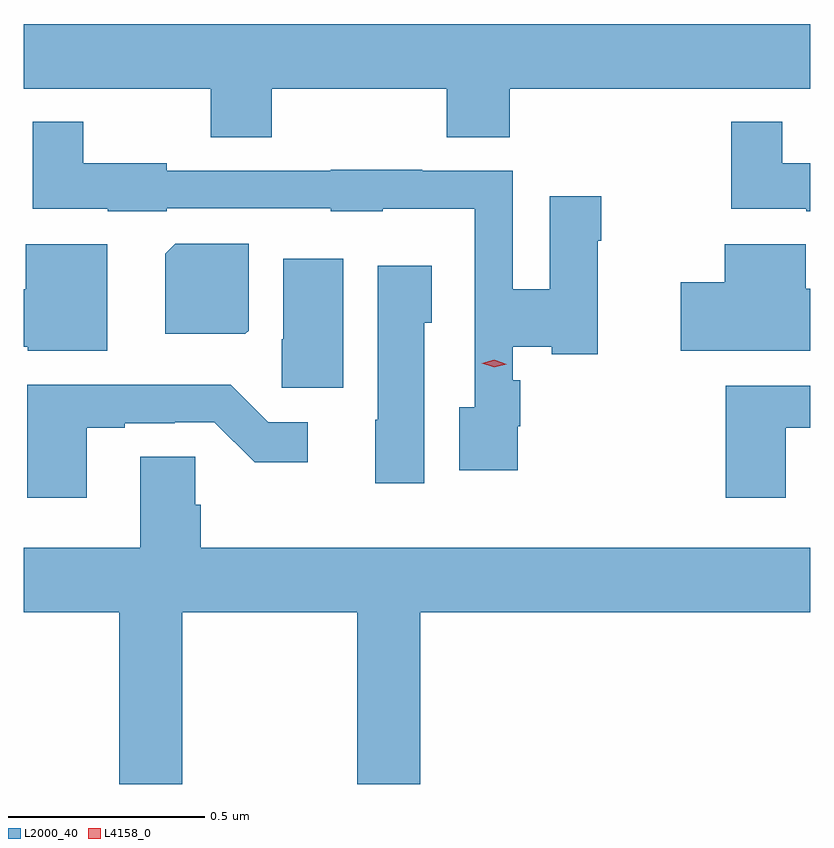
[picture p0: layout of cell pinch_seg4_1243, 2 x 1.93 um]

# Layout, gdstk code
import gdstk
lib = gdstk.Library(unit=1e-6, precision=1e-09)
def P(c, l, *ps):  # polygons
    for p in ps: c.add(gdstk.Polygon(p, *l))
L2000_40 = (2000, 40)
L4158_0 = (4158, 0)

pinch_seg4_1243 = lib.new_cell('pinch_seg4_1243')
P(pinch_seg4_1243, L2000_40, [(318.723,816.8),(319.168,816.8),(319.168,816.676),(319.328,816.676),(319.328,816.8),(320.092,816.8),(320.092,816.964),(318.092,816.964),(318.092,816.8),(318.568,816.8),(318.568,816.676),(318.723,816.676)],
  [(319.348,815.941),(319.355,815.941),(319.355,816.059),(319.335,816.059),(319.335,816.143),(319.434,816.143),(319.434,816.125),(319.552,816.125),(319.552,816.413),(319.56,816.413),(319.56,816.526),(319.43,816.526),(319.43,816.29),(319.335,816.29),(319.335,816.591),(319.105,816.591),(319.105,816.593),(318.873,816.593),(318.873,816.591),(318.456,816.591),(318.456,816.61),(318.244,816.61),(318.244,816.715),(318.115,816.715),(318.115,816.494),(318.306,816.494),(318.306,816.488),(318.456,816.488),(318.456,816.495),(318.873,816.495),(318.873,816.488),(319.005,816.488),(319.005,816.494),(319.239,816.494),(319.239,815.99),(319.199,815.99),(319.199,815.829),(319.348,815.829)],
  [(320.092,816.61),(320.02,816.61),(320.02,816.715),(319.891,816.715),(319.891,816.494),(320.082,816.494),(320.082,816.488),(320.092,816.488)],
  [(318.664,816.184),(318.664,816.406),(318.478,816.406),(318.452,816.38),(318.452,816.176),(318.656,816.176)],
  [(320.092,816.291),(320.08,816.291),(320.08,816.404),(319.874,816.404),(319.874,816.308),(319.763,816.308),(319.763,816.134),(320.092,816.134)],
  [(318.304,816.404),(318.098,816.404),(318.098,816.29),(318.092,816.29),(318.092,816.143),(318.102,816.143),(318.102,816.134),(318.304,816.134)],
  [(318.904,816.367),(318.752,816.367),(318.752,816.162),(318.748,816.162),(318.748,816.039),(318.904,816.039)],
  [(319.111,816.204),(319.129,816.204),(319.129,816.349),(318.992,816.349),(318.992,815.958),(318.986,815.958),(318.986,815.796),(319.111,815.796)],
  [(318.253,815.937),(318.349,815.937),(318.349,815.949),(318.476,815.949),(318.476,815.952),(318.576,815.952),(318.679,815.85),(318.814,815.85),(318.814,815.952),(318.714,815.952),(318.619,816.047),(318.101,816.047),(318.101,815.76),(318.253,815.76)],
  [(320.029,815.937),(320.092,815.937),(320.092,816.045),(319.877,816.045),(319.877,815.76),(320.029,815.76)],
  [(318.495,815.468),(318.94,815.468),(318.94,815.032),(319.1,815.032),(319.1,815.468),(320.092,815.468),(320.092,815.632),(318.542,815.632),(318.542,815.742),(318.528,815.742),(318.528,815.864),(318.389,815.864),(318.389,815.632),(318.092,815.632),(318.092,815.468),(318.335,815.468),(318.335,815.032),(318.495,815.032)])
P(pinch_seg4_1243, L4158_0, [(319.288,816.091),(319.257,816.102),(319.257,816.102),(319.257,816.102),(319.289,816.111),(319.32,816.099),(319.32,816.099),(319.32,816.099)])

lib.write_gds('pinch_seg4_1243.gds')
